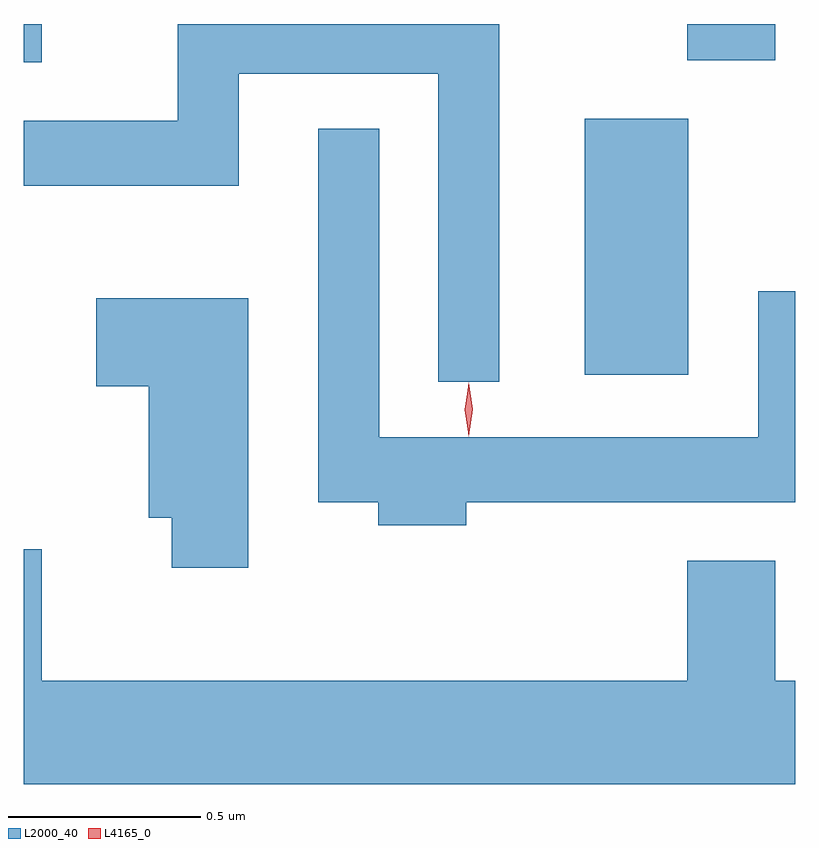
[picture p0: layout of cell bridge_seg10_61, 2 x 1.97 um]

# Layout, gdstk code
import gdstk
lib = gdstk.Library(unit=1e-6, precision=1e-09)
def R(c, l, rs):  # rectangles x0, y0, x1, y1
    for r in rs: c.add(gdstk.rectangle(r[:2], r[2:], *l))
def P(c, l, *ps):  # polygons
    for p in ps: c.add(gdstk.Polygon(p, *l))
L2000_40 = (2000, 40)
L4165_0 = (4165, 0)

bridge_seg10_61 = lib.new_cell('bridge_seg10_61')
R(bridge_seg10_61, L2000_40, [(1591.656,2161.596,1591.924,2162.259), (1590.202,2162.406,1590.249,2162.505), (1591.921,2162.411,1592.149,2162.505)])
P(bridge_seg10_61, L2000_40, [(1591.434,2162.505),(1590.601,2162.505),(1590.601,2162.254),(1590.202,2162.254),(1590.202,2162.086),(1590.759,2162.086),(1590.759,2162.376),(1591.276,2162.376),(1591.276,2161.578),(1591.434,2161.578)],
  [(1591.349,2161.266),(1592.202,2161.266),(1592.202,2161.813),(1592.106,2161.813),(1592.106,2161.434),(1591.124,2161.434),(1591.124,2162.233),(1590.966,2162.233),(1590.966,2161.266),(1591.121,2161.266),(1591.121,2161.206),(1591.349,2161.206)],
  [(1590.784,2161.794),(1590.391,2161.794),(1590.391,2161.566),(1590.526,2161.566),(1590.526,2161.226),(1590.586,2161.226),(1590.586,2161.096),(1590.784,2161.096)],
  [(1592.202,2160.804),(1592.149,2160.804),(1592.149,2161.114),(1591.921,2161.114),(1591.921,2160.804),(1590.249,2160.804),(1590.249,2161.144),(1590.202,2161.144),(1590.202,2160.536),(1592.202,2160.536)])
P(bridge_seg10_61, L4165_0, [(1591.355,2161.437),(1591.346,2161.507),(1591.355,2161.576),(1591.356,2161.576),(1591.356,2161.576),(1591.366,2161.507),(1591.356,2161.437),(1591.356,2161.437)],
  [(1591.355,2161.439),(1591.355,2161.44),(1591.345,2161.506),(1591.355,2161.572),(1591.355,2161.573),(1591.356,2161.572),(1591.365,2161.506),(1591.356,2161.44)])

lib.write_gds('bridge_seg10_61.gds')
